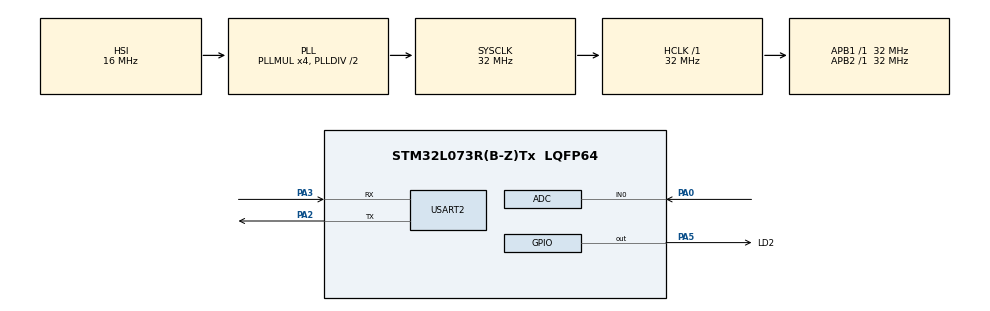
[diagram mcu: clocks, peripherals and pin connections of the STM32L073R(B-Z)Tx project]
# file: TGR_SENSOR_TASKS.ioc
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ADC.ClockPrescaler=ADC_CLOCK_ASYNC_DIV1
ADC.ContinuousConvMode=ENABLE
ADC.DMAContinuousRequests=ENABLE
ADC.DataAlign=ADC_DATAALIGN_RIGHT
ADC.DiscontinuousConvMode=DISABLE
ADC.EOCSelection=ADC_EOC_SINGLE_CONV
ADC.EnableAnalogWatchDog=false
ADC.ExternalTrigConv=ADC_SOFTWARE_START
ADC.ExternalTrigConvEdge=ADC_EXTERNALTRIGCONVEDGE_NONE
ADC.LowPowerAutoPowerOff=DISABLE
ADC.LowPowerAutoWait=DISABLE
ADC.LowPowerFrequencyMode=DISABLE
ADC.Overrun=ADC_OVR_DATA_PRESERVED
ADC.OversamplingMode=DISABLE
ADC.Resolution=ADC_RESOLUTION_12B
ADC.SamplingTime=ADC_SAMPLETIME_39CYCLES_5
ADC.ScanConvMode=ADC_SCAN_DIRECTION_FORWARD
Dma.ADC.0.Direction=DMA_PERIPH_TO_MEMORY
Dma.ADC.0.Instance=DMA1_Channel1
Dma.ADC.0.MemDataAlignment=DMA_MDATAALIGN_WORD
Dma.ADC.0.MemInc=DMA_MINC_ENABLE
Dma.ADC.0.Mode=DMA_CIRCULAR
Dma.ADC.0.PeriphDataAlignment=DMA_PDATAALIGN_WORD
Dma.ADC.0.PeriphInc=DMA_PINC_DISABLE
Dma.ADC.0.Priority=DMA_PRIORITY_LOW
Dma.Request0=ADC
FREERTOS.Queues01=myQueue01,16,uint16_t,NULL,Dynamic,NULL,NULL
FREERTOS.Tasks01=Task01,0,128,StartTask01,Default,NULL,Dynamic,NULL,NULL;Task02,-3,128,StartTask02,Default,NULL,Dynamic,NULL,NULL
FREERTOS.configUSE_ALTERNATIVE_API=0
Mcu.Family=STM32L0
Mcu.Name=STM32L073R(B-Z)Tx
Mcu.Package=LQFP64
NVIC.DMA1_Channel1_IRQn=true\:3\:0\:false\:false\:true\:true
NVIC.TIM6_DAC_IRQn=true\:0\:0\:false\:false\:true\:false
NVIC.TimeBase=TIM6_DAC_IRQn
NVIC.TimeBaseIP=TIM6
PA0.Mode=IN0
PA0.Signal=ADC_IN0
PA13.Mode=Serial_Wire
PA13.Signal=SYS_SWDIO
PA14.Mode=Serial_Wire
PA14.Signal=SYS_SWCLK
PA2.Mode=Asynchronous
PA2.Signal=USART2_TX
PA3.Mode=Asynchronous
PA3.Signal=USART2_RX
PA5.GPIO_Label=LD2
PA5.Signal=GPIO_Output
ProjectManager.HeapSize=0x400
ProjectManager.StackSize=0x800
ProjectManager.TargetToolchain=MDK-ARM V5
RCC.48MEnable=false
RCC.ADCEnable=true
RCC.AHBCLKDivider=RCC_SYSCLK_DIV1
RCC.AHBFreq_Value=32000000
RCC.APB1CLKDivider=RCC_HCLK_DIV1
RCC.APB1Freq_Value=32000000
RCC.APB1TimFreq_Value=32000000
RCC.APB2CLKDivider=RCC_HCLK_DIV1
RCC.APB2Freq_Value=32000000
RCC.APB2TimFreq_Value=32000000
RCC.ClockTypeHCLK=RCC_CLOCKTYPE_HCLK
RCC.ClockTypePCLK1=RCC_CLOCKTYPE_PCLK1
RCC.ClockTypePCLK2=RCC_CLOCKTYPE_PCLK2
RCC.ClockTypeSysClk=RCC_CLOCKTYPE_SYSCLK
RCC.EnableCSSLSE=false
RCC.EnableHSE=false
RCC.EnableHSELCDDevisor=false
RCC.EnableHSERTCDevisor=false
RCC.EnableLSE=false
RCC.EnableLSERTC=false
RCC.EnbaleCSS=false
RCC.HCLKFreq_Value=32000000
RCC.HSE_VALUE=8000000
RCC.HSI16State=RCC_HSI_ON
RCC.HSI16_VALUE=16000000
RCC.HSI48State=RCC_HSI48_OFF
RCC.HSI48_VALUE=48000000
RCC.HSIRCDiv=1
RCC.HSI_VALUE=16000000
RCC.I2C1Enable=false
RCC.IWDGEnable=false
RCC.LCDEnable=false
RCC.LPTIMEnable=false
RCC.LPUARTEnable=false
RCC.LSE_VALUE=32768
RCC.LSIState=RCC_LSI_OFF
RCC.MCOEnable=false
RCC.MSI_VALUE=2097000
RCC.PLLDIV=RCC_PLLDIV_2
RCC.PLLMUL=RCC_PLLMUL_4
RCC.PLLSource=RCC_PLLSOURCE_HSI
RCC.PLLState=RCC_PLL_ON
RCC.RCC_MCODiv=RCC_MCODIV_1
RCC.RCC_PERIPHCLK_USART2Var=RCC_PERIPHCLK_USART2
RCC.RCC_RTC_Clock_Source_FROM_HSE=RCC_RTCCLKSOURCE_HSE_DIV2
RCC.RNGEnable=false
RCC.RTCEnable=false
RCC.SYSCLKFreq_VALUE=32000000
RCC.SYSCLKSource=RCC_SYSCLKSOURCE_PLLCLK
RCC.TimPrescaler=SYSTICK_CLKSOURCE_HCLK
RCC.USART1Enable=false
RCC.USART2Enable=true
RCC.USBEnable=false
RCC.VCOOutputFreq_Value=64000000
USART2.HwFlowCtl-Asynchronous=UART_HWCONTROL_NONE
USART2.OverrunDisableParam=UART_ADVFEATURE_OVERRUN_ENABLE
USART2.VirtualMode-Asynchronous=VM_ASYNC
USART2.WordLength=WORDLENGTH_8B
VP_FREERTOS_VS_ENABLE.Mode=Enabled
VP_SYS_VS_tim6.Mode=TIM6
board=TGR_SENSOR_TASKS

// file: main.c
/**
  ******************************************************************************
  * File Name          : main.c
  * Description        : Main program body
  ******************************************************************************
  *
  * Copyright (c) 2017 STMicroelectronics International N.V.
  * All rights reserved.
  *
  * Redistribution and use in source and binary forms, with or without
  * modification, are permitted, provided that the following conditions are met:
  *
  * 1. Redistribution of source code must retain the above copyright notice,
  *    this list of conditions and the following disclaimer.
  * 2. Redistributions in binary form must reproduce the above copyright notice,
  *    this list of conditions and the following disclaimer in the documentation
  *    and/or other materials provided with the distribution.
  * 3. Neither the name of STMicroelectronics nor the names of other
  *    contributors to this software may be used to endorse or promote products
  *    derived from this software without specific written permission.
  * 4. This software, including modifications and/or derivative works of this
  *    software, must execute solely and exclusively on microcontroller or
  *    microprocessor devices manufactured by or for STMicroelectronics.
  * 5. Redistribution and use of this software other than as permitted under
  *    this license is void and will automatically terminate your rights under
  *    this license.
  *
  * THIS SOFTWARE IS PROVIDED BY STMICROELECTRONICS AND CONTRIBUTORS "AS IS"
  * AND ANY EXPRESS, IMPLIED OR STATUTORY WARRANTIES, INCLUDING, BUT NOT
  * LIMITED TO, THE IMPLIED WARRANTIES OF MERCHANTABILITY, FITNESS FOR A
  * PARTICULAR PURPOSE AND NON-INFRINGEMENT OF THIRD PARTY INTELLECTUAL PROPERTY
  * RIGHTS ARE DISCLAIMED TO THE FULLEST EXTENT PERMITTED BY LAW. IN NO EVENT
  * SHALL STMICROELECTRONICS OR CONTRIBUTORS BE LIABLE FOR ANY DIRECT, INDIRECT,
  * INCIDENTAL, SPECIAL, EXEMPLARY, OR CONSEQUENTIAL DAMAGES (INCLUDING, BUT NOT
  * LIMITED TO, PROCUREMENT OF SUBSTITUTE GOODS OR SERVICES; LOSS OF USE, DATA,
  * OR PROFITS; OR BUSINESS INTERRUPTION) HOWEVER CAUSED AND ON ANY THEORY OF
  * LIABILITY, WHETHER IN CONTRACT, STRICT LIABILITY, OR TORT (INCLUDING
  * NEGLIGENCE OR OTHERWISE) ARISING IN ANY WAY OUT OF THE USE OF THIS SOFTWARE,
  * EVEN IF ADVISED OF THE POSSIBILITY OF SUCH DAMAGE.
  *
  ******************************************************************************
  */
#include "main.h"
#include "stm32l0xx_hal.h"
#include "cmsis_os.h"

/* USER CODE BEGIN Includes */
#include <stdio.h>  // sprintf
#include <string.h> // strlen

/* USER CODE END Includes */

ADC_HandleTypeDef hadc;
DMA_HandleTypeDef hdma_adc;

UART_HandleTypeDef huart2;

osThreadId Task01Handle;
osThreadId Task02Handle;
osMailQId Queue01Handle;

/* USER CODE BEGIN PV */
/* Private variables ---------------------------------------------------------*/

/* USER CODE END PV */

void SystemClock_Config(void);
void Error_Handler(void);
static void MX_GPIO_Init(void);
static void MX_DMA_Init(void);
static void MX_ADC_Init(void);
static void MX_USART2_UART_Init(void);
void StartTask01(void const * argument);
void StartTask02(void const * argument);

/* USER CODE BEGIN PFP */
/* Private function prototypes -----------------------------------------------*/

/* USER CODE END PFP */

/* USER CODE BEGIN 0 */
#define Signal_A 0x0001

char initString[256];
uint32_t ConvertedData[2]; //Buffer for the converted data
uint32_t PBvolt; //for ADC_IN0 in mV
uint32_t POTvolt; //for ADC_IN1 in mV. Will be later used in the second part of this exercise

static volatile uint16_t adcVal = 0;
static volatile uint16_t newAdcVal = 0;

typedef struct {
	uint8_t  START_TEXT ;
	uint8_t  NUMBER_DATA;
	uint16_t ADC_DATA ;
	uint16_t HUMIDITY;
	uint8_t  END_TEXT;
} DATA_PACKAGE;

/* USER CODE END 0 */

int main(void)
{

  /* MCU Configuration----------------------------------------------------------*/

  /* Reset of all peripherals, Initializes the Flash interface and the Systick. */
  HAL_Init();

  /* Configure the system clock */
  SystemClock_Config();

  /* Initialize all configured peripherals */
  MX_GPIO_Init();
  MX_DMA_Init();
  MX_ADC_Init();
  MX_USART2_UART_Init();

  /* USER CODE BEGIN 2 */
	/* (Browse through stm32l0xx_hal_adc_ex.c file for the correct function to use) */
	if (HAL_ADCEx_Calibration_Start(&hadc, ADC_SINGLE_ENDED) != HAL_OK)
	{
	    Error_Handler();
	}

	/* Start ADC conversion with DMA */
	/* (Browse through stm32l0xx_hal_adc.c file for the correct function to use) */
	/* Indicate the ADC handler (hadc), the destination Buffer address (ConvertedData),
	   and the length or number of data to be transferred from ADC peripheral to memory (????) */
	if (HAL_ADC_Start_DMA(&hadc, ConvertedData, 1) != HAL_OK)
	{
	   Error_Handler();
	}

	/* Turn on LD2 */
	HAL_GPIO_WritePin(GPIOA, GPIO_PIN_5, GPIO_PIN_SET );

  /* USER CODE END 2 */

  /* Create the thread(s) */
  /* definition and creation of Task01 */
  osThreadDef(Task01, StartTask01, osPriorityNormal, 0, 128);
  Task01Handle = osThreadCreate(osThread(Task01), NULL);

  /* definition and creation of Task02 */
  osThreadDef(Task02, StartTask02, osPriorityIdle, 0, 128);
  Task02Handle = osThreadCreate(osThread(Task02), NULL);

  /* Create the queue(s) */
  /* definition and creation of Queue01 */
  osMailQDef(Queue01, 16,  DATA_PACKAGE); //////////////// ????
	Queue01Handle = osMailCreate(osMailQ(Queue01), NULL);

  /* Start scheduler */
  osKernelStart();

  /* We should never get here as control is now taken by the scheduler */

  /* Infinite loop */
  while (1)
  {

  }

}

/** System Clock Configuration
*/
void SystemClock_Config(void)
{

  RCC_OscInitTypeDef RCC_OscInitStruct;
  RCC_ClkInitTypeDef RCC_ClkInitStruct;
  RCC_PeriphCLKInitTypeDef PeriphClkInit;

    /**Configure the main internal regulator output voltage
    */
  __HAL_PWR_VOLTAGESCALING_CONFIG(PWR_REGULATOR_VOLTAGE_SCALE1);

    /**Initializes the CPU, AHB and APB busses clocks
    */
  RCC_OscInitStruct.OscillatorType = RCC_OSCILLATORTYPE_HSI;
  RCC_OscInitStruct.HSIState = RCC_HSI_ON;
  RCC_OscInitStruct.HSICalibrationValue = 16;
  RCC_OscInitStruct.PLL.PLLState = RCC_PLL_ON;
  RCC_OscInitStruct.PLL.PLLSource = RCC_PLLSOURCE_HSI;
  RCC_OscInitStruct.PLL.PLLMUL = RCC_PLLMUL_4;
  RCC_OscInitStruct.PLL.PLLDIV = RCC_PLLDIV_2;
  if (HAL_RCC_OscConfig(&RCC_OscInitStruct) != HAL_OK)
  {
    Error_Handler();
  }

    /**Initializes the CPU, AHB and APB busses clocks
    */
  RCC_ClkInitStruct.ClockType = RCC_CLOCKTYPE_HCLK|RCC_CLOCKTYPE_SYSCLK
                              |RCC_CLOCKTYPE_PCLK1|RCC_CLOCKTYPE_PCLK2;
  RCC_ClkInitStruct.SYSCLKSource = RCC_SYSCLKSOURCE_PLLCLK;
  RCC_ClkInitStruct.AHBCLKDivider = RCC_SYSCLK_DIV1;
  RCC_ClkInitStruct.APB1CLKDivider = RCC_HCLK_DIV1;
  RCC_ClkInitStruct.APB2CLKDivider = RCC_HCLK_DIV1;

  if (HAL_RCC_ClockConfig(&RCC_ClkInitStruct, FLASH_LATENCY_1) != HAL_OK)
  {
    Error_Handler();
  }

  PeriphClkInit.PeriphClockSelection = RCC_PERIPHCLK_USART2;
  PeriphClkInit.Usart2ClockSelection = RCC_USART2CLKSOURCE_PCLK1;
  if (HAL_RCCEx_PeriphCLKConfig(&PeriphClkInit) != HAL_OK)
  {
    Error_Handler();
  }

    /**Configure the Systick interrupt time
    */
  HAL_SYSTICK_Config(HAL_RCC_GetHCLKFreq()/1000);

    /**Configure the Systick
    */
  HAL_SYSTICK_CLKSourceConfig(SYSTICK_CLKSOURCE_HCLK);

  /* SysTick_IRQn interrupt configuration */
  HAL_NVIC_SetPriority(SysTick_IRQn, 3, 0);
}

/* ADC init function */
static void MX_ADC_Init(void)
{

  ADC_ChannelConfTypeDef sConfig;

    /**Configure the global features of the ADC (Clock, Resolution, Data Alignment and number of conversion)
    */
  hadc.Instance = ADC1;
  hadc.Init.OversamplingMode = DISABLE;
  hadc.Init.ClockPrescaler = ADC_CLOCK_ASYNC_DIV1;
  hadc.Init.Resolution = ADC_RESOLUTION_12B;
  hadc.Init.SamplingTime = ADC_SAMPLETIME_39CYCLES_5;
  hadc.Init.ScanConvMode = ADC_SCAN_DIRECTION_FORWARD;
  hadc.Init.DataAlign = ADC_DATAALIGN_RIGHT;
  hadc.Init.ContinuousConvMode = ENABLE;
  hadc.Init.DiscontinuousConvMode = DISABLE;
  hadc.Init.ExternalTrigConvEdge = ADC_EXTERNALTRIGCONVEDGE_NONE;
  hadc.Init.ExternalTrigConv = ADC_SOFTWARE_START;
  hadc.Init.DMAContinuousRequests = ENABLE;
  hadc.Init.EOCSelection = ADC_EOC_SINGLE_CONV;
  hadc.Init.Overrun = ADC_OVR_DATA_PRESERVED;
  hadc.Init.LowPowerAutoWait = DISABLE;
  hadc.Init.LowPowerFrequencyMode = DISABLE;
  hadc.Init.LowPowerAutoPowerOff = DISABLE;
  if (HAL_ADC_Init(&hadc) != HAL_OK)
  {
    Error_Handler();
  }

    /**Configure for the selected ADC regular channel to be converted.
    */
  sConfig.Channel = ADC_CHANNEL_0;
  sConfig.Rank = ADC_RANK_CHANNEL_NUMBER;
  if (HAL_ADC_ConfigChannel(&hadc, &sConfig) != HAL_OK)
  {
    Error_Handler();
  }

}

/* USART2 init function */
static void MX_USART2_UART_Init(void)
{

  huart2.Instance = USART2;
  huart2.Init.BaudRate = 115200;
  huart2.Init.WordLength = UART_WORDLENGTH_8B;
  huart2.Init.StopBits = UART_STOPBITS_1;
  huart2.Init.Parity = UART_PARITY_NONE;
  huart2.Init.Mode = UART_MODE_TX_RX;
  huart2.Init.HwFlowCtl = UART_HWCONTROL_NONE;
  huart2.Init.OverSampling = UART_OVERSAMPLING_16;
  huart2.Init.OneBitSampling = UART_ONE_BIT_SAMPLE_DISABLE;
  huart2.AdvancedInit.AdvFeatureInit = UART_ADVFEATURE_NO_INIT;
  if (HAL_UART_Init(&huart2) != HAL_OK)
  {
    Error_Handler();
  }

}

static void MX_DMA_Init(void)
{
  /* DMA controller clock enable */
  __HAL_RCC_DMA1_CLK_ENABLE();

  /* DMA interrupt init */
  /* DMA1_Channel1_IRQn interrupt configuration */
  //HAL_NVIC_SetPriority(DMA1_Channel1_IRQn, 3, 0);
  //HAL_NVIC_EnableIRQ(DMA1_Channel1_IRQn);

}

/** Configure pins as
        * Analog
        * Input
        * Output
        * EVENT_OUT
        * EXTI
*/
static void MX_GPIO_Init(void)
{

  GPIO_InitTypeDef GPIO_InitStruct;

  /* GPIO Ports Clock Enable */
  __HAL_RCC_GPIOA_CLK_ENABLE();

  /*Configure GPIO pin Output Level */
  HAL_GPIO_WritePin(LD2_GPIO_Port, LD2_Pin, GPIO_PIN_RESET);

  /*Configure GPIO pin : LD2_Pin */
  GPIO_InitStruct.Pin = LD2_Pin;
  GPIO_InitStruct.Mode = GPIO_MODE_OUTPUT_PP;
  GPIO_InitStruct.Pull = GPIO_NOPULL;
  GPIO_InitStruct.Speed = GPIO_SPEED_FREQ_LOW;
  HAL_GPIO_Init(LD2_GPIO_Port, &GPIO_InitStruct);

}

/* StartTask01 function */
void StartTask01(void const * argument)///////////////////////////////////////////////////////////
{

  /* USER CODE BEGIN 5 */
	char sendStr[256] = "\nHello TESA TOPGUN Rally 2017";
	//sprintf(sendStr,);
	HAL_UART_Transmit(&huart2, (uint8_t *)sendStr, strlen(sendStr), 2000);  // Send Greeting

	osSignalSet(Task02Handle, Signal_A);  // send signal
	/* Infinite loop */
  for(;;)
  {

		osEvent mail_event = osMailGet(Queue01Handle, 0);
		if(mail_event.status == osEventMail){
			DATA_PACKAGE *data = (DATA_PACKAGE *)mail_event.value.p;  /// Receive data

			sprintf(sendStr,"\nSTART TEXT: %d, NUMBER DATA: %d, ADC DATA: %d, Humidity DATA: %d, END TEXT: %d",data->START_TEXT,
											data->NUMBER_DATA,data->ADC_DATA,data->HUMIDITY,data->END_TEXT);
			HAL_UART_Transmit(&huart2, (uint8_t *)sendStr, strlen(sendStr), 2000);

			osMailFree(Queue01Handle,data);

		}
    osDelay(5);
  }
  /* USER CODE END 5 */
}

/* StartTask02 function */
void StartTask02(void const * argument)
{
  /* USER CODE BEGIN StartTask02 */
	osSignalWait(Signal_A, osWaitForever);
  /* Infinite loop */
  for(;;)
  {
		adcVal  = HAL_ADC_GetValue(&hadc);

	DATA_PACKAGE *data = osMailAlloc(Queue01Handle ,osWaitForever) ;  // Pack DATA
	data->START_TEXT = 0x02;
	data->NUMBER_DATA = 0x04;
	data->ADC_DATA = adcVal;
	data->HUMIDITY = newAdcVal ;
	data->END_TEXT = 0x03;

	osMailPut(Queue01Handle,data);  // Send to MailQueue

	HAL_GPIO_TogglePin(GPIOA,GPIO_PIN_5);
    osDelay(1);
  }
  /* USER CODE END StartTask02 */
}

void HAL_TIM_PeriodElapsedCallback(TIM_HandleTypeDef *htim)
{
  if (htim->Instance == TIM6) {
    HAL_IncTick();
  }
}

void Error_Handler(void)
{
  while(1)
  {
  }
}

/************************ (C) COPYRIGHT STMicroelectronics *****END OF FILE****/
